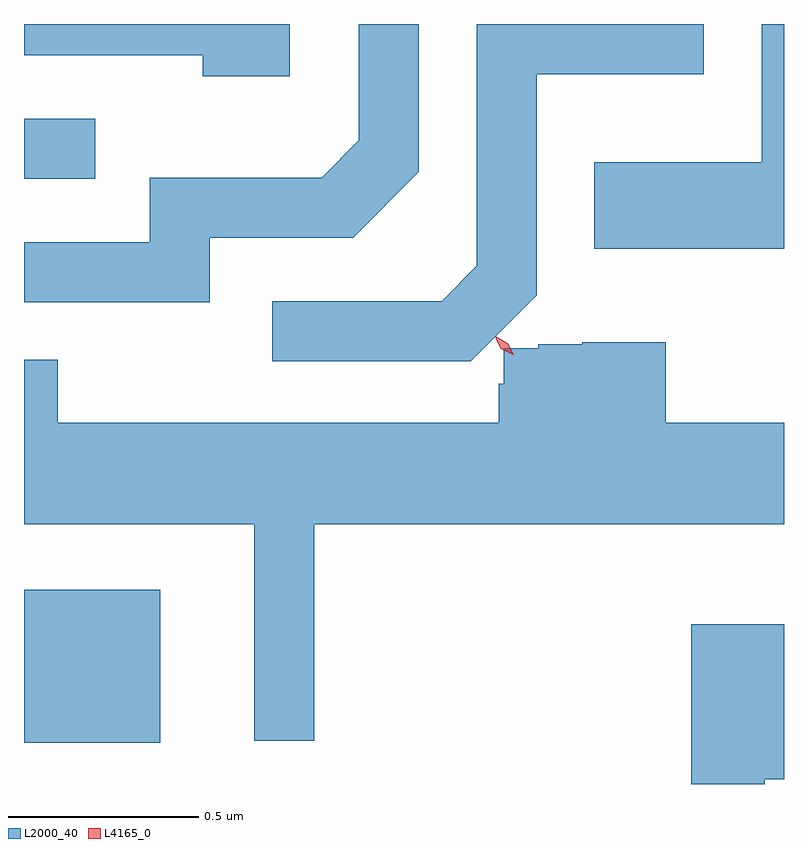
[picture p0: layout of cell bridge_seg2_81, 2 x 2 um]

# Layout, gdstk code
import gdstk
lib = gdstk.Library(unit=1e-6, precision=1e-09)
def R(c, l, rs):  # rectangles x0, y0, x1, y1
    for r in rs: c.add(gdstk.rectangle(r[:2], r[2:], *l))
def P(c, l, *ps):  # polygons
    for p in ps: c.add(gdstk.Polygon(p, *l))
L2000_40 = (2000, 40)
L4165_0 = (4165, 0)

bridge_seg2_81 = lib.new_cell('bridge_seg2_81')
R(bridge_seg2_81, L2000_40, [(1222.92,1045.521,1223.279,1045.924), (1222.92,1047.006,1223.108,1047.164)])
P(bridge_seg2_81, L2000_40, [(1223.409,1046.851),(1223.787,1046.851),(1223.959,1047.024),(1223.959,1047.413),(1223.801,1047.413),(1223.801,1047.107),(1223.704,1047.009),(1223.251,1047.009),(1223.251,1046.839),(1222.92,1046.839),(1222.92,1046.681),(1223.409,1046.681)],
  [(1224.269,1046.699),(1224.269,1047.281),(1224.709,1047.281),(1224.709,1047.413),(1224.111,1047.413),(1224.111,1046.777),(1224.019,1046.684),(1223.573,1046.684),(1223.573,1046.526),(1224.096,1046.526)],
  [(1224.92,1047.413),(1224.861,1047.413),(1224.861,1047.049),(1224.421,1047.049),(1224.421,1046.821),(1224.92,1046.821)],
  [(1223.619,1047.413),(1222.92,1047.413),(1222.92,1047.331),(1223.391,1047.331),(1223.391,1047.276),(1223.619,1047.276)],
  [(1223.684,1046.096),(1224.92,1046.096),(1224.92,1046.364),(1224.609,1046.364),(1224.609,1046.576),(1224.389,1046.576),(1224.389,1046.57),(1224.273,1046.57),(1224.273,1046.56),(1224.183,1046.56),(1224.183,1046.466),(1224.169,1046.466),(1224.169,1046.364),(1223.009,1046.364),(1223.009,1046.529),(1222.92,1046.529),(1222.92,1046.096),(1223.526,1046.096),(1223.526,1045.527),(1223.684,1045.527)],
  [(1224.869,1045.426),(1224.92,1045.426),(1224.92,1045.834),(1224.676,1045.834),(1224.676,1045.413),(1224.869,1045.413)])
P(bridge_seg2_81, L4165_0, [(1224.208,1046.542),(1224.178,1046.559),(1224.162,1046.589),(1224.162,1046.59),(1224.163,1046.59),(1224.193,1046.573),(1224.209,1046.543),(1224.209,1046.542)],
  [(1224.202,1046.545),(1224.175,1046.559),(1224.161,1046.586),(1224.161,1046.586),(1224.162,1046.586),(1224.189,1046.573),(1224.202,1046.546),(1224.202,1046.545)])

lib.write_gds('bridge_seg2_81.gds')
